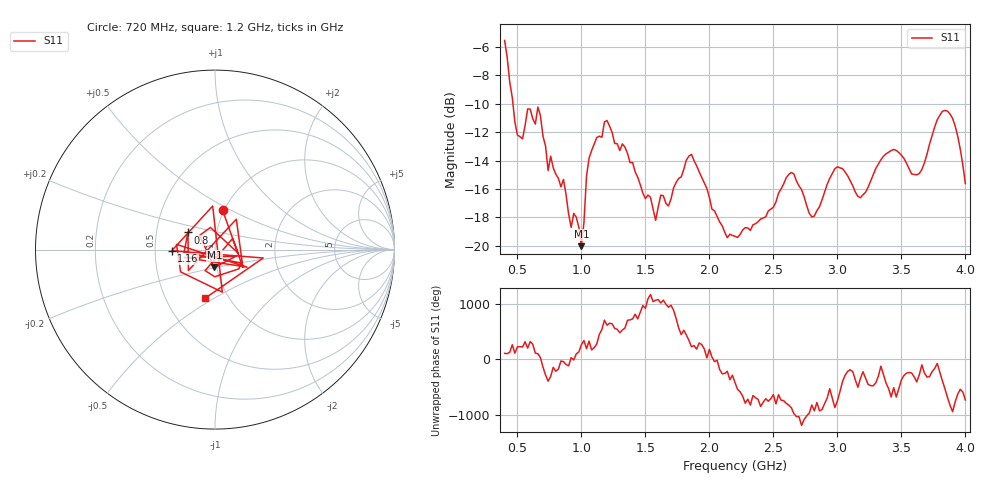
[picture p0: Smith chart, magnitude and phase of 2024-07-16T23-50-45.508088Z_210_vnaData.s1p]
!Created with skrf (http://scikit-rf.org).
# Hz S RI R 50.0
!freq ReS11 ImS11
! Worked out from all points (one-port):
!   181 points, 400 MHz to 4 GHz, reference 50 ohm
!   lowest |S11| = -20.0 dB at 1 GHz (marker M1), VSWR 1.22, Z = 48.7 - j9.8 ohm
!   |S11| at or under -10 dB: 465 MHz to end of sweep
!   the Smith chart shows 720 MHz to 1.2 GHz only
!   S11 on the Smith chart (normalised r, x): 720 MHz: 0.98, +0.46; 800 MHz: 0.73, +0.14; 1.16 GHz: 0.61, -0.01; 1.2 GHz: 0.78, -0.46
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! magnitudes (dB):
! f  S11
! 400 MHz  -5.6
! 500 MHz  -12.2
! 660 MHz  -10.2
! 720 MHz  -13.0
! 800 MHz  -15.0
! 860 MHz  -15.3
! 920 MHz  -18.7
! 960 MHz  -18.0
! 1 GHz  -20.0
! 1.06 GHz  -13.8
! 1.16 GHz  -12.4
! 1.2 GHz  -11.2
! 1.3 GHz  -13.3
! 1.58 GHz  -18.2
! 1.76 GHz  -15.3
! 1.86 GHz  -13.6
! 2.2 GHz  -19.3
! 2.66 GHz  -14.9
! 2.8 GHz  -18.0
! 2.98 GHz  -14.6
! 3.1 GHz  -15.4
! 3.18 GHz  -16.6
! 3.44 GHz  -13.2
! 3.56 GHz  -14.6
! 3.66 GHz  -14.6
! 3.84 GHz  -10.5
! 3.92 GHz  -11.6
! 4 GHz  -15.6
